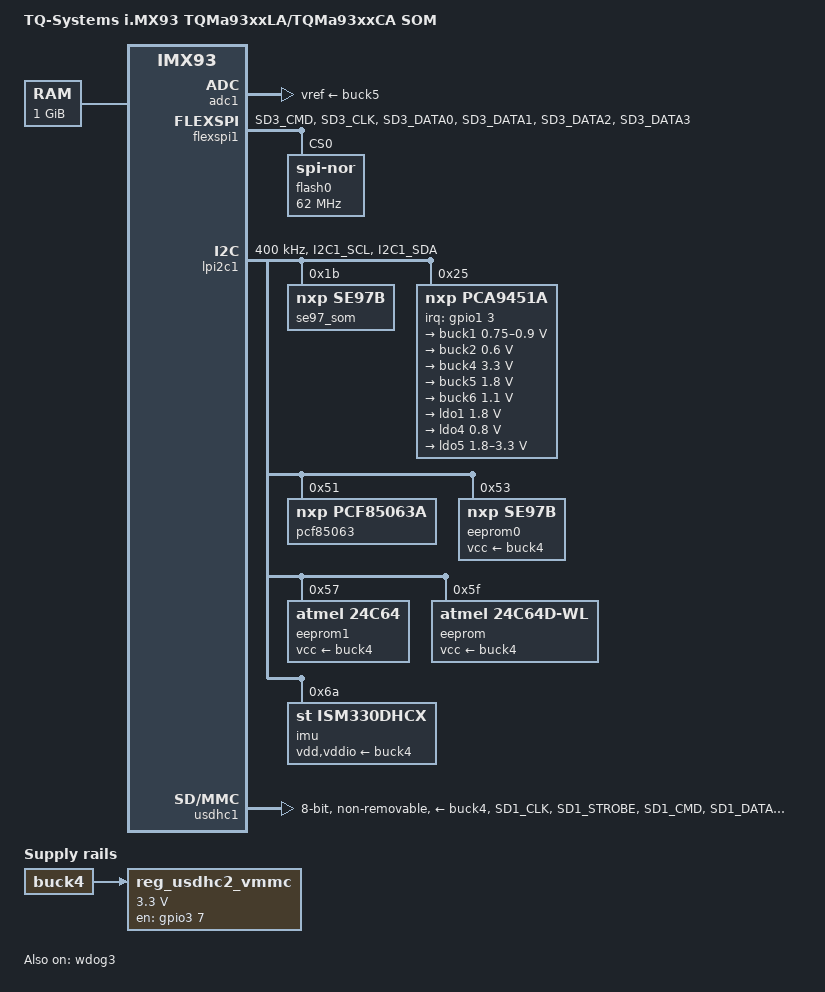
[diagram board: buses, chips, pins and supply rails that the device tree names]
// SPDX-License-Identifier: (GPL-2.0-or-later OR MIT)
/*
 * Copyright (c) 2022-2025 TQ-Systems GmbH <linux@ew.tq-group.com>,
 * D-82229 Seefeld, Germany.
 * Author: Markus Niebel
 */

#include "imx93.dtsi"

/{
	model = "TQ-Systems i.MX93 TQMa93xxLA/TQMa93xxCA SOM";
	compatible = "tq,imx93-tqma9352", "fsl,imx93";

	memory@80000000 {
		device_type = "memory";
		/* our minimum RAM config will be 1024 MiB */
		reg = <0x00000000 0x80000000 0 0x40000000>;
	};

	reserved-memory {
		#address-cells = <2>;
		#size-cells = <2>;
		ranges;

		linux,cma {
			compatible = "shared-dma-pool";
			reusable;
			alloc-ranges = <0 0x80000000 0 0x40000000>;
			size = <0 0x10000000>;
			linux,cma-default;
		};
	};

	/* SD2 RST# via PMIC SW_EN */
	reg_usdhc2_vmmc: regulator-usdhc2 {
		compatible = "regulator-fixed";
		pinctrl-names = "default";
		pinctrl-0 = <&pinctrl_reg_usdhc2_vmmc>;
		regulator-name = "VSD_3V3";
		regulator-min-microvolt = <3300000>;
		regulator-max-microvolt = <3300000>;
		vin-supply = <&buck4>;
		gpio = <&gpio3 7 GPIO_ACTIVE_HIGH>;
		enable-active-high;
	};
};

&adc1 {
	vref-supply = <&buck5>;
};

&flexspi1 {
	pinctrl-names = "default";
	pinctrl-0 = <&pinctrl_flexspi1>;
	status = "okay";

	flash0: flash@0 {
		compatible = "jedec,spi-nor";
		reg = <0>;
		/*
		 * no DQS, RXCLKSRC internal loop back, max 66 MHz
		 * clk framework uses CLK_DIVIDER_ROUND_CLOSEST
		 * selected value together with root from
		 * IMX93_CLK_SYS_PLL_PFD1 @ 800.000.000 Hz helps to
		 * respect the maximum value.
		 */
		spi-max-frequency = <62000000>;
		spi-tx-bus-width = <4>;
		spi-rx-bus-width = <4>;

		partitions {
			compatible = "fixed-partitions";
			#address-cells = <1>;
			#size-cells = <1>;
		};
	};
};

&lpi2c1 {
	clock-frequency = <400000>;
	pinctrl-names = "default", "sleep";
	pinctrl-0 = <&pinctrl_lpi2c1>;
	pinctrl-1 = <&pinctrl_lpi2c1>;
	status = "okay";

	se97_som: temperature-sensor@1b {
		compatible = "nxp,se97b", "jedec,jc-42.4-temp";
		reg = <0x1b>;
	};

	pca9451a: pmic@25 {
		compatible = "nxp,pca9451a";
		reg = <0x25>;
		pinctrl-names = "default";
		pinctrl-0 = <&pinctrl_pca9451>;
		interrupt-parent = <&gpio1>;
		interrupts = <3 IRQ_TYPE_LEVEL_LOW>;

		regulators {
			/* V_0V8_SOC - hw developer guide: 0.75 .. 0.9 */
			buck1: BUCK1 {
				regulator-name = "BUCK1";
				regulator-min-microvolt = <750000>;
				regulator-max-microvolt = <900000>;
				regulator-boot-on;
				regulator-always-on;
				regulator-ramp-delay = <3125>;
			};

			/* V_DDRQ - 0.6 V for LPDDR4X */
			buck2: BUCK2 {
				regulator-name = "BUCK2";
				regulator-min-microvolt = <600000>;
				regulator-max-microvolt = <600000>;
				regulator-boot-on;
				regulator-always-on;
				regulator-ramp-delay = <3125>;
			};

			/* V_3V3 - EEPROM, RTC, ... */
			buck4: BUCK4 {
				regulator-name = "BUCK4";
				regulator-min-microvolt = <3300000>;
				regulator-max-microvolt = <3300000>;
				regulator-boot-on;
				regulator-always-on;
			};

			/* V_1V8 - SPI NOR, eMMC, RAM VDD1... */
			buck5: BUCK5 {
				regulator-name = "BUCK5";
				regulator-min-microvolt = <1800000>;
				regulator-max-microvolt = <1800000>;
				regulator-boot-on;
				regulator-always-on;
			};

			/* V_1V1 - RAM VDD2*/
			buck6: BUCK6 {
				regulator-name = "BUCK6";
				regulator-min-microvolt = <1100000>;
				regulator-max-microvolt = <1100000>;
				regulator-boot-on;
				regulator-always-on;
			};

			/* V_1V8_BBSM, fix 1.8 */
			ldo1: LDO1 {
				regulator-name = "LDO1";
				regulator-min-microvolt = <1800000>;
				regulator-max-microvolt = <1800000>;
				regulator-boot-on;
				regulator-always-on;
			};

			/* V_0V8_ANA */
			ldo4: LDO4 {
				regulator-name = "LDO4";
				regulator-min-microvolt = <800000>;
				regulator-max-microvolt = <800000>;
				regulator-boot-on;
				regulator-always-on;
			};

			/* V_SD2 - 3.3/1.8V USDHC2 io Voltage */
			ldo5: LDO5 {
				regulator-name = "LDO5";
				regulator-min-microvolt = <1800000>;
				regulator-max-microvolt = <3300000>;
				regulator-boot-on;
				regulator-always-on;
			};
		};
	};

	pcf85063: rtc@51 {
		compatible = "nxp,pcf85063a";
		reg = <0x51>;
		quartz-load-femtofarads = <7000>;
	};

	eeprom0: eeprom@53 {
		compatible = "nxp,se97b", "atmel,24c02";
		reg = <0x53>;
		pagesize = <16>;
		read-only;
		vcc-supply = <&buck4>;
	};

	eeprom1: eeprom@57 {
		compatible = "atmel,24c64";
		reg = <0x57>;
		pagesize = <32>;
		vcc-supply = <&buck4>;
	};

	/* protectable identification memory (part of M24C64-D @57) */
	eeprom@5f {
		compatible = "atmel,24c64d-wl";
		reg = <0x5f>;
		vcc-supply = <&buck4>;
	};

	imu@6a {
		compatible = "st,ism330dhcx";
		reg = <0x6a>;
		vdd-supply = <&buck4>;
		vddio-supply = <&buck4>;
	};
};

&usdhc1 {
	pinctrl-names = "default", "state_100mhz", "state_200mhz";
	pinctrl-0 = <&pinctrl_usdhc1>;
	pinctrl-1 = <&pinctrl_usdhc1>;
	pinctrl-2 = <&pinctrl_usdhc1>;
	vmmc-supply = <&buck4>;
	vqmmc-supply = <&buck5>;
	bus-width = <8>;
	non-removable;
	no-sdio;
	no-sd;
	status = "okay";
};

&wdog3 {
	pinctrl-names = "default";
	pinctrl-0 = <&pinctrl_wdog>;
	fsl,ext-reset-output;
	status = "okay";
};

&iomuxc {
	pinctrl_flexspi1: flexspi1grp {
		fsl,pins = <
			/* FSEL 3  | DSE X6 */
			MX93_PAD_SD3_CMD__FLEXSPI1_A_SS0_B	0x01fe
			MX93_PAD_SD3_CLK__FLEXSPI1_A_SCLK	0x01fe
			/* HYS | PU | FSEL 3  | DSE X6 */
			MX93_PAD_SD3_DATA0__FLEXSPI1_A_DATA00	0x13fe
			MX93_PAD_SD3_DATA1__FLEXSPI1_A_DATA01	0x13fe
			/* HYS | FSEL 3  | DSE X6 (external PU) */
			MX93_PAD_SD3_DATA2__FLEXSPI1_A_DATA02	0x11fe
			MX93_PAD_SD3_DATA3__FLEXSPI1_A_DATA03	0x11fe
		>;
	};

	pinctrl_lpi2c1: lpi2c1grp {
		fsl,pins = <
			/* SION | OD | FSEL 3 | DSE X4 */
			MX93_PAD_I2C1_SCL__LPI2C1_SCL		0x4000199e
			MX93_PAD_I2C1_SDA__LPI2C1_SDA		0x4000199e
		>;
	};

	pinctrl_pca9451: pca9451grp {
		fsl,pins = <
			/* HYS | PU */
			MX93_PAD_I2C2_SDA__GPIO1_IO03		0x1200
		>;
	};

	pinctrl_reg_usdhc2_vmmc: regusdhc2vmmcgrp {
		fsl,pins = <
			/* FSEL 2 | DSE X2 */
			MX93_PAD_SD2_RESET_B__GPIO3_IO07	0x106
		>;
	};

	/* enable SION for data and cmd pad due to ERR052021 */
	pinctrl_usdhc1: usdhc1grp {
		fsl,pins = <
			/* PD | FSEL 3 | DSE X5 */
			MX93_PAD_SD1_CLK__USDHC1_CLK		0x5be
			/* HYS | FSEL 0 | no drive */
			MX93_PAD_SD1_STROBE__USDHC1_STROBE	0x1000
			/* HYS | FSEL 3 | X5 */
			MX93_PAD_SD1_CMD__USDHC1_CMD		0x400011be
			/* HYS | FSEL 3 | X4 */
			MX93_PAD_SD1_DATA0__USDHC1_DATA0	0x4000119e
			MX93_PAD_SD1_DATA1__USDHC1_DATA1	0x4000119e
			MX93_PAD_SD1_DATA2__USDHC1_DATA2	0x4000119e
			MX93_PAD_SD1_DATA3__USDHC1_DATA3	0x4000119e
			MX93_PAD_SD1_DATA4__USDHC1_DATA4	0x4000119e
			MX93_PAD_SD1_DATA5__USDHC1_DATA5	0x4000119e
			MX93_PAD_SD1_DATA6__USDHC1_DATA6	0x4000119e
			MX93_PAD_SD1_DATA7__USDHC1_DATA7	0x4000119e
		>;
	};

	pinctrl_wdog: wdoggrp {
		fsl,pins = <
			/* PU | FSEL 1 | DSE X4 */
			MX93_PAD_WDOG_ANY__WDOG1_WDOG_ANY	0x31e
		>;
	};
};
